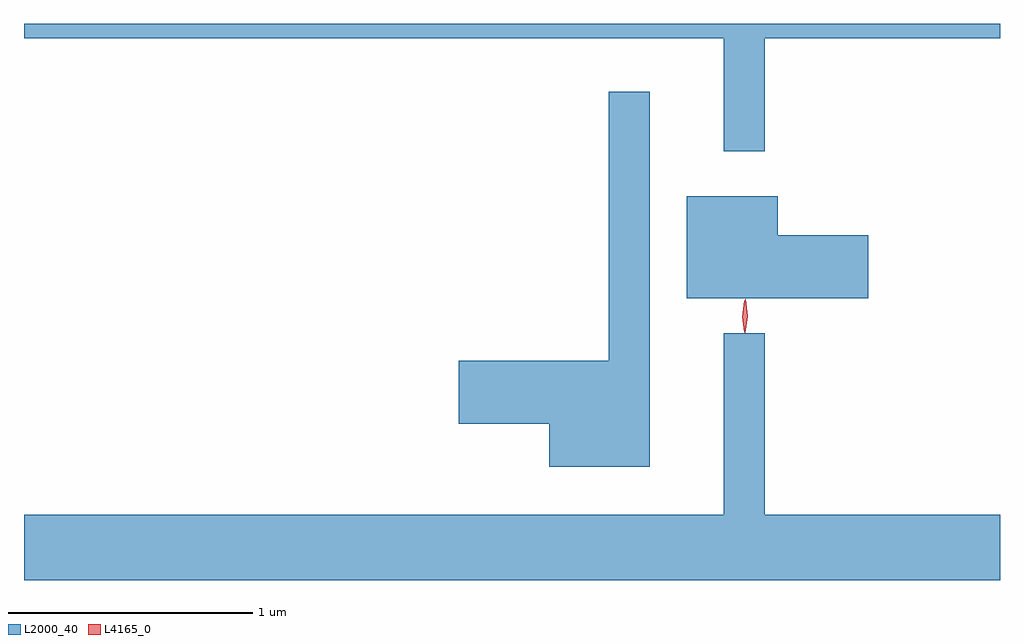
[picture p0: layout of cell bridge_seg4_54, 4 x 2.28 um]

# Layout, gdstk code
import gdstk
lib = gdstk.Library(unit=1e-6, precision=1e-09)
def P(c, l, *ps):  # polygons
    for p in ps: c.add(gdstk.Polygon(p, *l))
L2000_40 = (2000, 40)
L4165_0 = (4165, 0)

bridge_seg4_54 = lib.new_cell('bridge_seg4_54')
P(bridge_seg4_54, L2000_40, [(1342.459,1263.656),(1343.424,1263.656),(1343.424,1263.715),(1339.424,1263.715),(1339.424,1263.656),(1342.291,1263.656),(1342.291,1263.193),(1342.459,1263.193)],
  [(1341.989,1263.438),(1341.821,1263.438),(1341.821,1262.334),(1341.206,1262.334),(1341.206,1262.076),(1341.576,1262.076),(1341.576,1261.901),(1341.989,1261.901)],
  [(1342.884,1262.849),(1342.514,1262.849),(1342.514,1263.009),(1342.141,1263.009),(1342.141,1262.591),(1342.884,1262.591)],
  [(1343.424,1261.704),(1342.459,1261.704),(1342.459,1262.448),(1342.291,1262.448),(1342.291,1261.704),(1339.424,1261.704),(1339.424,1261.436),(1343.424,1261.436)])
P(bridge_seg4_54, L4165_0, [(1342.377,1262.453),(1342.376,1262.454),(1342.367,1262.516),(1342.376,1262.58),(1342.377,1262.58),(1342.378,1262.58),(1342.387,1262.516),(1342.378,1262.454)],
  [(1342.378,1262.45),(1342.37,1262.518),(1342.38,1262.586),(1342.381,1262.586),(1342.381,1262.586),(1342.39,1262.518),(1342.379,1262.45),(1342.379,1262.45)])

lib.write_gds('bridge_seg4_54.gds')
